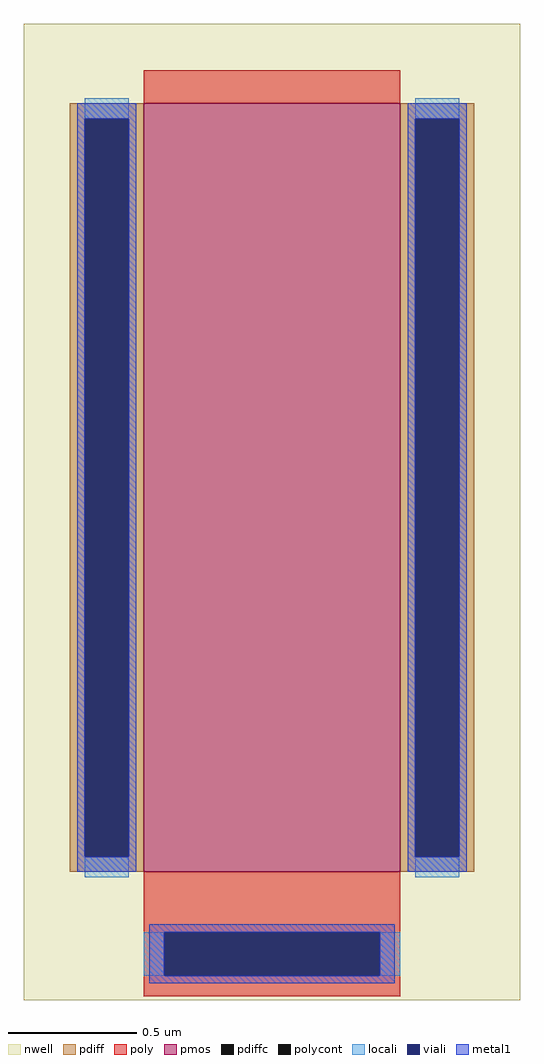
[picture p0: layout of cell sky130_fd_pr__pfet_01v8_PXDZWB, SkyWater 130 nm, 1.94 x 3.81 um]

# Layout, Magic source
magic
tech sky130A
magscale 1 2
<< nwell >>
rect -194 -364 194 398
<< pmos >>
rect -100 -264 100 336
<< pdiff >>
rect -158 324 -100 336
rect -158 -252 -146 324
rect -112 -252 -100 324
rect -158 -264 -100 -252
rect 100 324 158 336
rect 100 -252 112 324
rect 146 -252 158 324
rect 100 -264 158 -252
<< pdiffc >>
rect -146 -252 -112 324
rect 112 -252 146 324
<< poly >>
rect -100 336 100 362
rect -100 -311 100 -264
rect -100 -345 -84 -311
rect 84 -345 100 -311
rect -100 -361 100 -345
<< polycont >>
rect -84 -345 84 -311
<< locali >>
rect -146 324 -112 340
rect -146 -268 -112 -252
rect 112 324 146 340
rect 112 -268 146 -252
rect -100 -345 -84 -311
rect 84 -345 100 -311
<< viali >>
rect -146 -252 -112 324
rect 112 -252 146 324
rect -84 -345 84 -311
<< metal1 >>
rect -152 324 -106 336
rect -152 -252 -146 324
rect -112 -252 -106 324
rect -152 -264 -106 -252
rect 106 324 152 336
rect 106 -252 112 324
rect 146 -252 152 324
rect 106 -264 152 -252
rect -96 -311 96 -305
rect -96 -345 -84 -311
rect 84 -345 96 -311
rect -96 -351 96 -345
<< properties >>
string gencell sky130_fd_pr__pfet_01v8
string library sky130
string parameters w 3 l 1 m 1 nf 1 diffcov 100 polycov 100 guard 0 glc 0 grc 0 gtc 0 gbc 0 tbcov 100 rlcov 100 topc 0 botc 1 poverlap 0 doverlap 0 lmin 0.15 wmin 0.42 compatible {sky130_fd_pr__pfet_01v8  sky130_fd_pr__pfet_01v8_lvt sky130_fd_pr__pfet_01v8_hvt  sky130_fd_pr__pfet_g5v0d10v5} full_metal 0 viasrc 100 viadrn 100 viagate 100 viagb 0 viagr 0 viagl 0 viagt 0
string sky130_fd_pr__pfet_01v8_PXDZWB parameters
<< end >>
